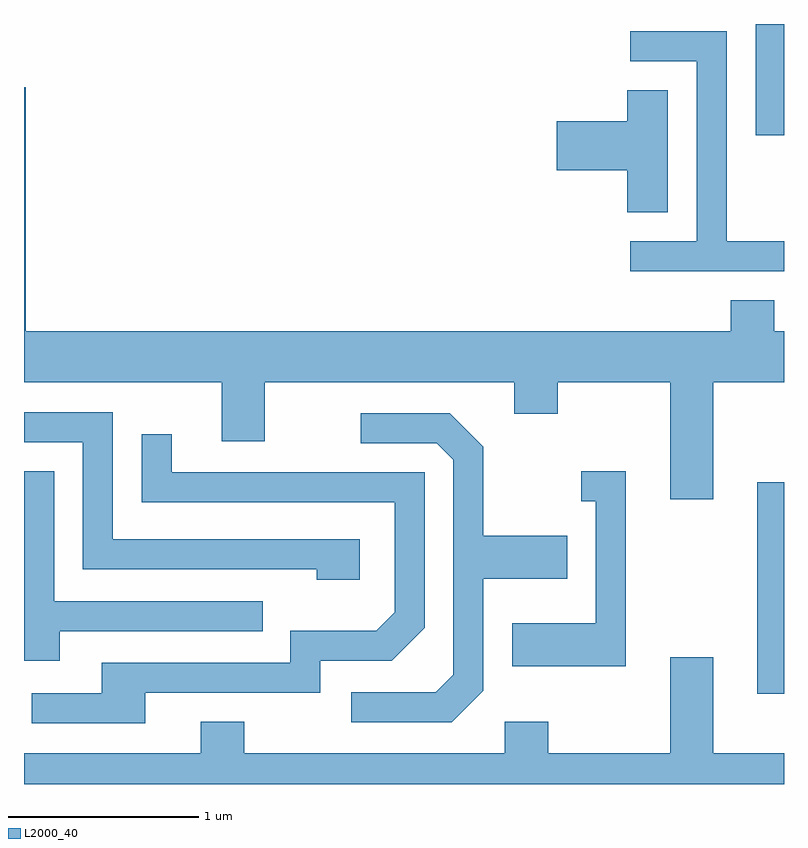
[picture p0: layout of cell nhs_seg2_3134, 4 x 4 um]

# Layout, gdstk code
import gdstk
lib = gdstk.Library(unit=1e-6, precision=1e-09)
def R(c, l, rs):  # rectangles x0, y0, x1, y1
    for r in rs: c.add(gdstk.rectangle(r[:2], r[2:], *l))
def P(c, l, *ps):  # polygons
    for p in ps: c.add(gdstk.Polygon(p, *l))
L2000_40 = (2000, 40)

nhs_seg2_3134 = lib.new_cell('nhs_seg2_3134')
R(nhs_seg2_3134, L2000_40, [(281.471,1002.276,281.611,1003.389), (281.461,1005.216,281.611,1005.802)])
P(nhs_seg2_3134, L2000_40, [(281.611,1004.659),(281.309,1004.659),(281.309,1005.764),(280.803,1005.764),(280.803,1005.606),(281.151,1005.606),(281.151,1004.659),(280.803,1004.659),(280.803,1004.501),(281.611,1004.501)],
  [(281.611,1004.184),(281.559,1004.184),(281.559,1004.349),(281.331,1004.349),(281.331,1004.184),(277.619,1004.184),(277.619,1005.469),(277.611,1005.469),(277.611,1003.916),(278.651,1003.916),(278.651,1003.606),(278.879,1003.606),(278.879,1003.916),(280.191,1003.916),(280.191,1003.751),(280.419,1003.751),(280.419,1003.916),(281.011,1003.916),(281.011,1003.301),(281.239,1003.301),(281.239,1003.916),(281.611,1003.916)],
  [(280.999,1005.454),(280.786,1005.454),(280.786,1005.289),(280.416,1005.289),(280.416,1005.031),(280.786,1005.031),(280.786,1004.811),(280.999,1004.811)],
  [(279.379,1003.089),(278.079,1003.089),(278.079,1003.759),(277.611,1003.759),(277.611,1003.601),(277.921,1003.601),(277.921,1002.931),(279.151,1002.931),(279.151,1002.876),(279.379,1002.876)],
  [(280.029,1002.294),(280.029,1002.881),(280.469,1002.881),(280.469,1003.109),(280.029,1003.109),(280.029,1003.577),(279.852,1003.754),(279.383,1003.754),(279.383,1003.596),(279.784,1003.596),(279.871,1003.509),(279.871,1002.377),(279.779,1002.284),(279.333,1002.284),(279.333,1002.126),(279.862,1002.126)],
  [(278.249,1002.281),(279.169,1002.281),(279.169,1002.451),(279.547,1002.451),(279.719,1002.624),(279.719,1003.444),(278.389,1003.444),(278.389,1003.643),(278.231,1003.643),(278.231,1003.286),(279.561,1003.286),(279.561,1002.707),(279.464,1002.609),(279.011,1002.609),(279.011,1002.439),(278.021,1002.439),(278.021,1002.279),(277.653,1002.279),(277.653,1002.121),(278.249,1002.121)],
  [(277.799,1002.606),(278.868,1002.606),(278.868,1002.764),(277.769,1002.764),(277.769,1003.449),(277.611,1003.449),(277.611,1002.451),(277.799,1002.451)],
  [(280.779,1003.449),(280.543,1003.449),(280.543,1003.291),(280.621,1003.291),(280.621,1002.649),(280.181,1002.649),(280.181,1002.421),(280.779,1002.421)],
  [(281.611,1001.964),(281.239,1001.964),(281.239,1002.469),(281.011,1002.469),(281.011,1001.964),(280.369,1001.964),(280.369,1002.129),(280.141,1002.129),(280.141,1001.964),(278.769,1001.964),(278.769,1002.129),(278.541,1002.129),(278.541,1001.964),(277.611,1001.964),(277.611,1001.802),(281.611,1001.802)])

lib.write_gds('nhs_seg2_3134.gds')
